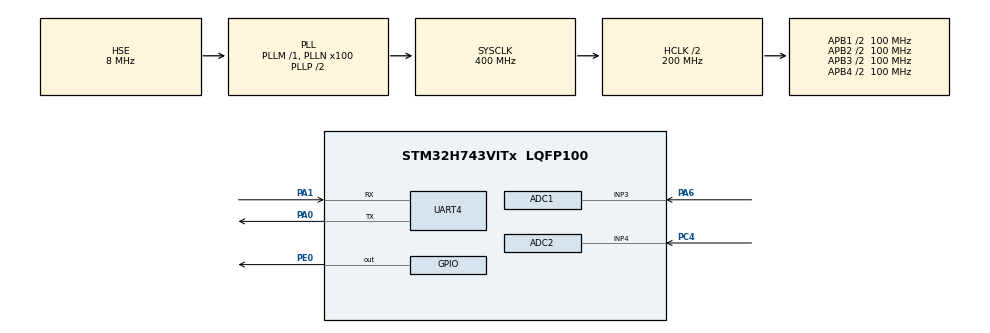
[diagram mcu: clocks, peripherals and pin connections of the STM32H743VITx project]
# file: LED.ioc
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ADC1.Channel-0\#ChannelRegularConversion=ADC_CHANNEL_3
ADC1.ClockPrescaler=ADC_CLOCK_ASYNC_DIV2
ADC1.ConversionDataManagement=ADC_CONVERSIONDATA_DMA_ONESHOT
ADC1.DMAAccessModeView=ENABLE
ADC1.ExternalTrigConv=ADC_EXTERNALTRIG_T3_TRGO
ADC1.Mode=ADC_DUALMODE_INTERL
ADC1.NbrOfConversion=1
ADC1.NbrOfConversionFlag=1
ADC1.OffsetNumber-0\#ChannelRegularConversion=ADC_OFFSET_NONE
ADC1.OversamplingMode=DISABLE
ADC1.Rank-0\#ChannelRegularConversion=1
ADC1.Resolution=ADC_RESOLUTION_8B
ADC1.SamplingTime-0\#ChannelRegularConversion=ADC_SAMPLETIME_1CYCLE_5
ADC1.TwoSamplingDelay=ADC_TWOSAMPLINGDELAY_3CYCLES
ADC1.master=1
ADC2.Channel-3\#ChannelRegularConversion=ADC_CHANNEL_4
ADC2.ConversionDataManagement=ADC_CONVERSIONDATA_DMA_ONESHOT
ADC2.DMAAccessModeView=ENABLE
ADC2.Mode=ADC_DUALMODE_INTERL
ADC2.NbrOfConversionFlag=1
ADC2.OffsetNumber-3\#ChannelRegularConversion=ADC_OFFSET_NONE
ADC2.Rank-3\#ChannelRegularConversion=1
ADC2.Resolution=ADC_RESOLUTION_8B
ADC2.SamplingTime-3\#ChannelRegularConversion=ADC_SAMPLETIME_1CYCLE_5
ADC2.TwoSamplingDelay=ADC_TWOSAMPLINGDELAY_3CYCLES
CORTEX_M7.CPU_DCache=Disabled
CORTEX_M7.CPU_ICache=Disabled
Dma.ADC1.0.Direction=DMA_PERIPH_TO_MEMORY
Dma.ADC1.0.EventEnable=DISABLE
Dma.ADC1.0.FIFOMode=DMA_FIFOMODE_DISABLE
Dma.ADC1.0.Instance=DMA1_Stream0
Dma.ADC1.0.MemDataAlignment=DMA_MDATAALIGN_WORD
Dma.ADC1.0.MemInc=DMA_MINC_ENABLE
Dma.ADC1.0.Mode=DMA_CIRCULAR
Dma.ADC1.0.PeriphDataAlignment=DMA_PDATAALIGN_WORD
Dma.ADC1.0.PeriphInc=DMA_PINC_DISABLE
Dma.ADC1.0.Polarity=HAL_DMAMUX_REQ_GEN_RISING
Dma.ADC1.0.Priority=DMA_PRIORITY_LOW
Dma.ADC1.0.RequestNumber=1
Dma.ADC1.0.SignalID=NONE
Dma.ADC1.0.SyncEnable=DISABLE
Dma.ADC1.0.SyncPolarity=HAL_DMAMUX_SYNC_NO_EVENT
Dma.ADC1.0.SyncRequestNumber=1
Dma.ADC1.0.SyncSignalID=NONE
Dma.Request0=ADC1
Mcu.Family=STM32H7
Mcu.Name=STM32H743VITx
Mcu.Package=LQFP100
NVIC.DMA1_Stream0_IRQn=true\:1\:0\:true\:false\:true\:false\:true
NVIC.PriorityGroup=NVIC_PRIORITYGROUP_4
NVIC.TIM3_IRQn=true\:0\:0\:false\:false\:true\:true\:true
PA0.Mode=Asynchronous
PA0.Signal=UART4_TX
PA1.Mode=Asynchronous
PA1.Signal=UART4_RX
PA6.Signal=ADCx_INP3
PC4.Signal=ADCx_INP4
PE0.Signal=GPIO_Output
PH0-OSC_IN\ (PH0).Mode=HSE-External-Oscillator
PH0-OSC_IN\ (PH0).Signal=RCC_OSC_IN
PH1-OSC_OUT\ (PH1).Mode=HSE-External-Oscillator
PH1-OSC_OUT\ (PH1).Signal=RCC_OSC_OUT
ProjectManager.HeapSize=0x200
ProjectManager.StackSize=0x400
ProjectManager.TargetToolchain=MDK-ARM V5
RCC.ADCFreq_Value=72000000
RCC.APB1Freq_Value=100000000
RCC.APB2Freq_Value=100000000
RCC.APB3Freq_Value=100000000
RCC.APB4Freq_Value=100000000
RCC.CortexFreq_Value=400000000
RCC.D1PPRE=RCC_APB3_DIV2
RCC.D2PPRE1=RCC_APB1_DIV2
RCC.D2PPRE2=RCC_APB2_DIV2
RCC.D3PPRE=RCC_APB4_DIV2
RCC.DIVM1=1
RCC.DIVM2=1
RCC.DIVN1=100
RCC.DIVN2=27
RCC.DIVP2=3
RCC.HCLKFreq_Value=200000000
RCC.HPRE=RCC_HCLK_DIV2
RCC.HSE_VALUE=8000000
RCC.PLL2FRACN=0
RCC.PLLSourceVirtual=RCC_PLLSOURCE_HSE
RCC.PWR_Regulator_Voltage_Scale=PWR_REGULATOR_VOLTAGE_SCALE1
RCC.SYSCLKFreq_VALUE=400000000
RCC.SYSCLKSource=RCC_SYSCLKSOURCE_PLLCLK
RCC.USBFreq_Value=400000000
SH.ADCx_INP3.0=ADC1_INP3,IN3-Single-Ended
SH.ADCx_INP4.0=ADC2_INP4,IN4-Single-Ended
TIM3.Period=1000-1
TIM3.Prescaler=100-1
TIM3.TIM_MasterOutputTrigger=TIM_TRGO_UPDATE
TIM3.TIM_MasterSlaveMode=TIM_MASTERSLAVEMODE_DISABLE
VP_TIM3_VS_ClockSourceINT.Mode=Internal
board=custom

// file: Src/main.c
/* USER CODE BEGIN Header */
/**
  ******************************************************************************
  * @file           : main.c
  * @brief          : Main program body
  ******************************************************************************
  ** This notice applies to any and all portions of this file
  * that are not between comment pairs USER CODE BEGIN and
  * USER CODE END. Other portions of this file, whether
  * inserted by the user or by software development tools
  * are owned by their respective copyright owners.
  *
  * COPYRIGHT(c) 2019 STMicroelectronics
  *
  * Redistribution and use in source and binary forms, with or without modification,
  * are permitted provided that the following conditions are met:
  *   1. Redistributions of source code must retain the above copyright notice,
  *      this list of conditions and the following disclaimer.
  *   2. Redistributions in binary form must reproduce the above copyright notice,
  *      this list of conditions and the following disclaimer in the documentation
  *      and/or other materials provided with the distribution.
  *   3. Neither the name of STMicroelectronics nor the names of its contributors
  *      may be used to endorse or promote products derived from this software
  *      without specific prior written permission.
  *
  * THIS SOFTWARE IS PROVIDED BY THE COPYRIGHT HOLDERS AND CONTRIBUTORS "AS IS"
  * AND ANY EXPRESS OR IMPLIED WARRANTIES, INCLUDING, BUT NOT LIMITED TO, THE
  * IMPLIED WARRANTIES OF MERCHANTABILITY AND FITNESS FOR A PARTICULAR PURPOSE ARE
  * DISCLAIMED. IN NO EVENT SHALL THE COPYRIGHT HOLDER OR CONTRIBUTORS BE LIABLE
  * FOR ANY DIRECT, INDIRECT, INCIDENTAL, SPECIAL, EXEMPLARY, OR CONSEQUENTIAL
  * DAMAGES (INCLUDING, BUT NOT LIMITED TO, PROCUREMENT OF SUBSTITUTE GOODS OR
  * SERVICES; LOSS OF USE, DATA, OR PROFITS; OR BUSINESS INTERRUPTION) HOWEVER
  * CAUSED AND ON ANY THEORY OF LIABILITY, WHETHER IN CONTRACT, STRICT LIABILITY,
  * OR TORT (INCLUDING NEGLIGENCE OR OTHERWISE) ARISING IN ANY WAY OUT OF THE USE
  * OF THIS SOFTWARE, EVEN IF ADVISED OF THE POSSIBILITY OF SUCH DAMAGE.
  *
  ******************************************************************************
  */
/* USER CODE END Header */

#include "main.h"
#include "adc.h"
#include "dma.h"
#include "tim.h"
#include "usart.h"
#include "gpio.h"

/* USER CODE BEGIN Includes */
#include "arm_math.h"
/* USER CODE END Includes */

/* USER CODE BEGIN PV */
u16 ADC1_value[1024];
u16 ADC2_value[1024];

/* USER CODE END PV */

void SystemClock_Config(void);

/* USER CODE BEGIN 0 */
void SysTick_interrupt()			//1ms
{
//	static u32 i;
//	if(i==1000)
//	{
//		HAL_GPIO_TogglePin(GPIOE,GPIO_PIN_0);
// 		i=0;
//	}
//	i++;
}
/* USER CODE END 0 */

int main(void)
{

  /* MCU Configuration--------------------------------------------------------*/

  /* Reset of all peripherals, Initializes the Flash interface and the Systick. */
  HAL_Init();

  /* Configure the system clock */
  SystemClock_Config();

  /* Initialize all configured peripherals */
  MX_GPIO_Init();
  MX_DMA_Init();
  MX_ADC1_Init();
  MX_TIM3_Init();
  MX_UART4_Init();
  MX_ADC2_Init();
  /* USER CODE BEGIN 2 */
  ADC12_Tim3_START();

  /* USER CODE END 2 */

  /* Infinite loop */
  while (1)
  {

    /* USER CODE BEGIN 3 */
	if(ADC_Complete)
	{

		for(int i=0;i<1024;i++)
		{
			ADC1_value[i] = aADCDualConvertedValues[i]&0xFF;
			ADC2_value[i] = (aADCDualConvertedValues[i]>>8);
			printf("%d ",ADC1_value[i]);
		}
		for(int i=0;i<1024;i++)
		{
			printf("%d ",ADC2_value[i]);
		}
		ADC_Complete=0;
		// ����ADC_DMA
		HAL_ADC_DeInit(&hadc1);
		HAL_ADC_DeInit(&hadc2);
		MX_DMA_Init();
		MX_ADC1_Init();
		MX_TIM3_Init();
		MX_ADC2_Init();
        ADC12_Tim3_START();
	}

	HAL_Delay(100);
  }
  /* USER CODE END 3 */
}

void SystemClock_Config(void)
{
  RCC_OscInitTypeDef RCC_OscInitStruct = {0};
  RCC_ClkInitTypeDef RCC_ClkInitStruct = {0};
  RCC_PeriphCLKInitTypeDef PeriphClkInitStruct = {0};

  /** Supply configuration update enable
  */
  HAL_PWREx_ConfigSupply(PWR_LDO_SUPPLY);
  /** Configure the main internal regulator output voltage
  */
  __HAL_PWR_VOLTAGESCALING_CONFIG(PWR_REGULATOR_VOLTAGE_SCALE1);

  while(!__HAL_PWR_GET_FLAG(PWR_FLAG_VOSRDY)) {}
  /** Macro to configure the PLL clock source
  */
  __HAL_RCC_PLL_PLLSOURCE_CONFIG(RCC_PLLSOURCE_HSE);
  /** Initializes the CPU, AHB and APB busses clocks
  */
  RCC_OscInitStruct.OscillatorType = RCC_OSCILLATORTYPE_HSE;
  RCC_OscInitStruct.HSEState = RCC_HSE_ON;
  RCC_OscInitStruct.PLL.PLLState = RCC_PLL_ON;
  RCC_OscInitStruct.PLL.PLLSource = RCC_PLLSOURCE_HSE;
  RCC_OscInitStruct.PLL.PLLM = 1;
  RCC_OscInitStruct.PLL.PLLN = 100;
  RCC_OscInitStruct.PLL.PLLP = 2;
  RCC_OscInitStruct.PLL.PLLQ = 2;
  RCC_OscInitStruct.PLL.PLLR = 2;
  RCC_OscInitStruct.PLL.PLLRGE = RCC_PLL1VCIRANGE_3;
  RCC_OscInitStruct.PLL.PLLVCOSEL = RCC_PLL1VCOWIDE;
  RCC_OscInitStruct.PLL.PLLFRACN = 0;
  if (HAL_RCC_OscConfig(&RCC_OscInitStruct) != HAL_OK)
  {
    Error_Handler();
  }
  /** Initializes the CPU, AHB and APB busses clocks
  */
  RCC_ClkInitStruct.ClockType = RCC_CLOCKTYPE_HCLK|RCC_CLOCKTYPE_SYSCLK
                              |RCC_CLOCKTYPE_PCLK1|RCC_CLOCKTYPE_PCLK2
                              |RCC_CLOCKTYPE_D3PCLK1|RCC_CLOCKTYPE_D1PCLK1;
  RCC_ClkInitStruct.SYSCLKSource = RCC_SYSCLKSOURCE_PLLCLK;
  RCC_ClkInitStruct.SYSCLKDivider = RCC_SYSCLK_DIV1;
  RCC_ClkInitStruct.AHBCLKDivider = RCC_HCLK_DIV2;
  RCC_ClkInitStruct.APB3CLKDivider = RCC_APB3_DIV2;
  RCC_ClkInitStruct.APB1CLKDivider = RCC_APB1_DIV2;
  RCC_ClkInitStruct.APB2CLKDivider = RCC_APB2_DIV2;
  RCC_ClkInitStruct.APB4CLKDivider = RCC_APB4_DIV2;

  if (HAL_RCC_ClockConfig(&RCC_ClkInitStruct, FLASH_LATENCY_2) != HAL_OK)
  {
    Error_Handler();
  }
  PeriphClkInitStruct.PeriphClockSelection = RCC_PERIPHCLK_UART4|RCC_PERIPHCLK_ADC;
  PeriphClkInitStruct.PLL2.PLL2M = 1;
  PeriphClkInitStruct.PLL2.PLL2N = 27;
  PeriphClkInitStruct.PLL2.PLL2P = 3;
  PeriphClkInitStruct.PLL2.PLL2Q = 2;
  PeriphClkInitStruct.PLL2.PLL2R = 2;
  PeriphClkInitStruct.PLL2.PLL2RGE = RCC_PLL2VCIRANGE_3;
  PeriphClkInitStruct.PLL2.PLL2VCOSEL = RCC_PLL2VCOWIDE;
  PeriphClkInitStruct.PLL2.PLL2FRACN = 0;
  PeriphClkInitStruct.Usart234578ClockSelection = RCC_USART234578CLKSOURCE_D2PCLK1;
  PeriphClkInitStruct.AdcClockSelection = RCC_ADCCLKSOURCE_PLL2;
  if (HAL_RCCEx_PeriphCLKConfig(&PeriphClkInitStruct) != HAL_OK)
  {
    Error_Handler();
  }
}

void Error_Handler(void)
{
}

/************************ (C) COPYRIGHT STMicroelectronics *****END OF FILE****/
